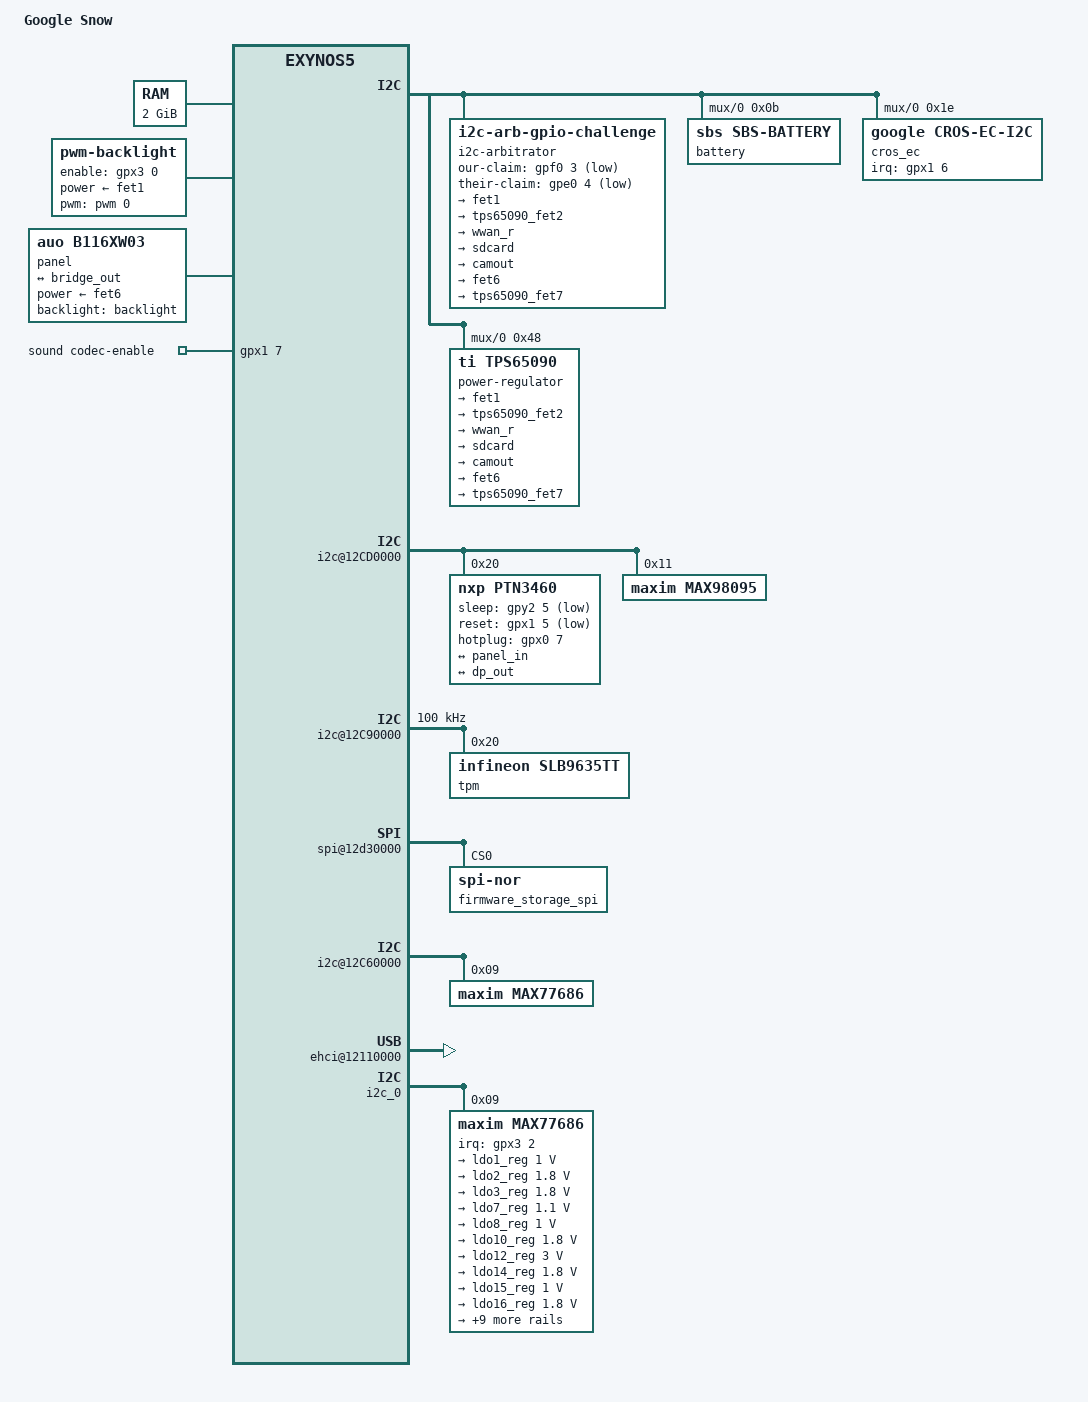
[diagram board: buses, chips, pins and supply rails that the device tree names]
/*
 * SAMSUNG Snow board device tree source
 *
 * Copyright (c) 2012 Samsung Electronics Co., Ltd.
 *		http://www.samsung.com
 *
 * This program is free software; you can redistribute it and/or modify
 * it under the terms of the GNU General Public License version 2 as
 * published by the Free Software Foundation.
 */

/dts-v1/;
#include <dt-bindings/gpio/gpio.h>
#include <dt-bindings/interrupt-controller/irq.h>
#include <dt-bindings/input/input.h>
#include "exynos5250.dtsi"

/ {
	model = "Google Snow";
	compatible = "google,snow", "samsung,exynos5250", "samsung,exynos5";

	aliases {
		i2c0 = "/i2c@12C60000";
		i2c1 = "/i2c@12C70000";
		i2c2 = "/i2c@12C80000";
		i2c3 = "/i2c@12C90000";
		i2c4 = "/i2c@12CA0000";
		i2c104 = &i2c_104;
		i2c5 = "/i2c@12CB0000";
		i2c6 = "/i2c@12CC0000";
		i2c7 = "/i2c@12CD0000";
		spi0 = "/spi@12d20000";
		spi1 = "/spi@12d30000";
		spi2 = "/spi@12d40000";
		spi3 = "/spi@131a0000";
		spi4 = "/spi@131b0000";
		mmc0 = "/mmc@12200000";
		mmc1 = "/mmc@12210000";
		mmc2 = "/mmc@12220000";
		mmc3 = "/mmc@12230000";
		serial0 = "/serial@12C30000";
		console = "/serial@12C30000";
	};

        memory {
		reg = <0x40000000 0x80000000>;
	};

	chosen {
		bootargs = "console=tty1";
		stdout-path = "serial3:115200n8";
	};

	iram {
		reg = <0x02020000 0x60000>;
	};

	config {
		samsung,bl1-offset = <0x1400>;
		samsung,bl2-offset = <0x3400>;
		u-boot-memory = "/memory";
		u-boot-offset = <0x3e00000 0x100000>;
	};

	flash {
		reg = <0 0x100000>;
		#address-cells = <1>;
		#size-cells = <1>;
		pre-boot {
			label = "bl1 pre-boot";
			reg = <0 0x2000>;
			read-only;
			filename = "e5250.nbl1.bin";
			type = "blob exynos-bl1";
			required;
		};

		spl {
			label = "bl2 spl";
			reg = <0x2000 0x4000>;
			read-only;
			filename = "bl2.bin";
			type = "blob exynos-bl2 boot,dtb";
			payload = "/flash/ro-boot";
			required;
		};

		ro-boot {
			label = "u-boot";
			reg = <0x6000 0xb0000>;
			read-only;
			type = "blob boot,dtb";
			required;
		};
	};

	i2c-arbitrator {
		compatible = "i2c-arb-gpio-challenge";
		#address-cells = <1>;
		#size-cells = <0>;

		i2c-parent = <&{/i2c@12CA0000}>;

		our-claim-gpio = <&gpf0 3 GPIO_ACTIVE_LOW>;
		their-claim-gpios = <&gpe0 4 GPIO_ACTIVE_LOW>;
		slew-delay-us = <10>;
		wait-retry-us = <3000>;
		wait-free-us = <50000>;

		/* Use ID 104 as a hint that we're on physical bus 4 */
		i2c_104: i2c@0 {
			reg = <0>;
			#address-cells = <1>;
			#size-cells = <0>;

			battery: sbs-battery@b {
				compatible = "sbs,sbs-battery";
				reg = <0xb>;
				sbs,poll-retry-count = <1>;
			};

			cros_ec: embedded-controller {
				compatible = "google,cros-ec-i2c";
				reg = <0x1e>;
				interrupts = <6 IRQ_TYPE_NONE>;
				interrupt-parent = <&gpx1>;
				wakeup-source;
				i2c-max-frequency = <100000>;
				u-boot,i2c-offset-len = <0>;
				ec-interrupt = <&gpx1 6 GPIO_ACTIVE_LOW>;
			};

			power-regulator {
				compatible = "ti,tps65090";
				reg = <0x48>;

				regulators {
					dcdc1 {
						ti,enable-ext-control;
					};
					dcdc2 {
						ti,enable-ext-control;
					};
					dcdc3 {
						ti,enable-ext-control;
					};
					fet1: fet1 {
						regulator-name = "vcd_led";
						ti,overcurrent-wait = <3>;
					};
					tps65090_fet2: fet2 {
						regulator-name = "video_mid";
						regulator-always-on;
						ti,overcurrent-wait = <3>;
					};
					fet3 {
						regulator-name = "wwan_r";
						regulator-always-on;
						ti,overcurrent-wait = <3>;
					};
					fet4 {
						regulator-name = "sdcard";
						ti,overcurrent-wait = <3>;
					};
					fet5 {
						regulator-name = "camout";
						regulator-always-on;
						ti,overcurrent-wait = <3>;
					};
					fet6: fet6 {
						regulator-name = "lcd_vdd";
						ti,overcurrent-wait = <3>;
					};
					tps65090_fet7: fet7 {
						regulator-name = "video_mid_1a";
						regulator-always-on;
						ti,overcurrent-wait = <3>;
					};
					ldo1 {
					};
					ldo2 {
					};
				};

				charger {
					compatible = "ti,tps65090-charger";
				};
			};
		};
	};

	i2c@12CD0000 {
		ptn3460: lvds-bridge@20 {
			compatible = "nxp,ptn3460";
			reg = <0x20>;
			sleep-gpios = <&gpy2 5 GPIO_ACTIVE_LOW>;
			reset-gpios = <&gpx1 5 GPIO_ACTIVE_LOW>;
			hotplug-gpios = <&gpx0 7 GPIO_ACTIVE_HIGH>;
			edid-emulation = <5>;

			ports {
				port@0 {
					bridge_out: endpoint {
						remote-endpoint = <&panel_in>;
					};
				};

				port@1 {
					bridge_in: endpoint {
						remote-endpoint = <&dp_out>;
					};
				};
			};
		};

		max98095: codec@11 {
			compatible = "maxim,max98095";
			reg = <0x11>;
			#sound-dai-cells = <1>;
		};
	};

	i2c@12C90000 {
		clock-frequency = <100000>;
		tpm@20 {
			reg = <0x20>;
			u-boot,i2c-offset-len = <0>;
			compatible = "infineon,slb9635tt";
		};
	};

	spi@12d30000 {
		spi-max-frequency = <50000000>;
		firmware_storage_spi: flash@0 {
			compatible = "jedec,spi-nor";
			reg = <0>;
		};
	};

	backlight: backlight {
		compatible = "pwm-backlight";
		pwms = <&pwm 0 1000000 0>;
		brightness-levels = <0 100 500 1000 1500 2000 2500 2800>;
		default-brightness-level = <7>;
		enable-gpios = <&gpx3 0 GPIO_ACTIVE_HIGH>;
		power-supply = <&fet1>;
	};

	panel: panel {
		compatible = "auo,b116xw03";
		power-supply = <&fet6>;
		backlight = <&backlight>;

		port {
			panel_in: endpoint {
				remote-endpoint = <&bridge_out>;
			};
		};
	};

	spi@131b0000 {
		spi-max-frequency = <1000000>;
		spi-deactivate-delay = <100>;

		/* Snow did support SPI but the released version used I2C */
		embedded-controller {
			compatible = "google,cros-ec-i2c";
			reg = <0x1e>;
			spi-max-frequency = <5000000>;
			ec-interrupt = <&gpx1 6 GPIO_ACTIVE_LOW>;
			optimise-flash-write;
			status = "disabled";
		};
	};

	sound {
		compatible = "google,snow-audio-max98095";

		samsung,model = "Snow-I2S-MAX98095";
		samsung,audio-codec = <&max98095>;
		codec-enable-gpio = <&gpx1 7 GPIO_ACTIVE_HIGH>;

		cpu {
			sound-dai = <&i2s0 0>;
		};

		codec {
			sound-dai = <&max98095 0>;
		};
	};

	sound@12d60000 {
		status = "disabled";
	};

	i2c@12C60000 {
		max77686@09 {
			reg = <0x9>;
			compatible = "maxim,max77686";
		};
	};

	mmc@12200000 {
		samsung,bus-width = <8>;
		samsung,timing = <1 3 3>;
		samsung,removable = <0>;
	};

	mmc@12210000 {
		status = "disabled";
	};

	mmc@12220000 {
		samsung,bus-width = <4>;
		samsung,timing = <1 2 3>;
		samsung,removable = <1>;
	};

	mmc@12230000 {
		status = "disabled";
	};

	ehci@12110000 {
		samsung,vbus-gpio = <&gpx1 1 GPIO_ACTIVE_HIGH>;
		status = "okay";
	};

	xhci@12000000 {
		samsung,vbus-gpio = <&gpx2 7 GPIO_ACTIVE_HIGH>;
	};

	tmu@10060000 {
		samsung,min-temp	= <25>;
		samsung,max-temp	= <125>;
		samsung,start-warning	= <95>;
		samsung,start-tripping	= <105>;
		samsung,hw-tripping	= <110>;
		samsung,efuse-min-value	= <40>;
		samsung,efuse-value	= <55>;
		samsung,efuse-max-value	= <100>;
		samsung,slope		= <274761730>;
		samsung,dc-value	= <25>;
	};

	fimd@14400000 {
		samsung,vl-freq = <60>;
		samsung,vl-col = <1366>;
		samsung,vl-row = <768>;
		samsung,vl-width = <1366>;
		samsung,vl-height = <768>;

		samsung,vl-clkp;
		samsung,vl-dp;
		samsung,vl-hsp;
		samsung,vl-vsp;

		samsung,vl-bpix = <4>;

		samsung,vl-hspw = <32>;
		samsung,vl-hbpd = <80>;
		samsung,vl-hfpd = <48>;
		samsung,vl-vspw = <5>;
		samsung,vl-vbpd = <14>;
		samsung,vl-vfpd = <3>;
		samsung,vl-cmd-allow-len = <0xf>;

		samsung,winid = <0>;
		samsung,interface-mode = <1>;
		samsung,dp-enabled = <1>;
		samsung,dual-lcd-enabled = <0>;
	};

	dp@145b0000 {
		samsung,lt-status = <0>;

		samsung,master-mode = <0>;
		samsung,bist-mode = <0>;
		samsung,bist-pattern = <0>;
		samsung,h-sync-polarity = <0>;
		samsung,v-sync-polarity = <0>;
		samsung,interlaced = <0>;
		samsung,color-space = <0>;
		samsung,dynamic-range = <0>;
		samsung,ycbcr-coeff = <0>;
		samsung,color-depth = <1>;
		samsung,hpd-gpio = <&gpx0 7 GPIO_ACTIVE_HIGH>;

		ports {
			port@0 {
				dp_out: endpoint {
					remote-endpoint = <&bridge_in>;
				};
			};
		};
	};

};

&i2c_0 {
	status = "okay";
	samsung,i2c-sda-delay = <100>;
	samsung,i2c-max-bus-freq = <378000>;

	max77686: max77686@09 {
		compatible = "maxim,max77686";
		interrupt-parent = <&gpx3>;
		interrupts = <2 IRQ_TYPE_NONE>;
		wakeup-source;
		reg = <0x09>;
		#clock-cells = <1>;

		voltage-regulators {
			ldo1_reg: LDO1 {
				regulator-name = "P1.0V_LDO_OUT1";
				regulator-min-microvolt = <1000000>;
				regulator-max-microvolt = <1000000>;
				regulator-always-on;
			};

			ldo2_reg: LDO2 {
				regulator-name = "P1.8V_LDO_OUT2";
				regulator-min-microvolt = <1800000>;
				regulator-max-microvolt = <1800000>;
				regulator-always-on;
			};

			ldo3_reg: LDO3 {
				regulator-name = "P1.8V_LDO_OUT3";
				regulator-min-microvolt = <1800000>;
				regulator-max-microvolt = <1800000>;
				regulator-always-on;
			};

			ldo7_reg: LDO7 {
				regulator-name = "P1.1V_LDO_OUT7";
				regulator-min-microvolt = <1100000>;
				regulator-max-microvolt = <1100000>;
				regulator-always-on;
			};

			ldo8_reg: LDO8 {
				regulator-name = "P1.0V_LDO_OUT8";
				regulator-min-microvolt = <1000000>;
				regulator-max-microvolt = <1000000>;
				regulator-always-on;
			};

			ldo10_reg: LDO10 {
				regulator-name = "P1.8V_LDO_OUT10";
				regulator-min-microvolt = <1800000>;
				regulator-max-microvolt = <1800000>;
				regulator-always-on;
			};

			ldo12_reg: LDO12 {
				regulator-name = "P3.0V_LDO_OUT12";
				regulator-min-microvolt = <3000000>;
				regulator-max-microvolt = <3000000>;
				regulator-always-on;
			};

			ldo14_reg: LDO14 {
				regulator-name = "P1.8V_LDO_OUT14";
				regulator-min-microvolt = <1800000>;
				regulator-max-microvolt = <1800000>;
				regulator-always-on;
			};

			ldo15_reg: LDO15 {
				regulator-name = "P1.0V_LDO_OUT15";
				regulator-min-microvolt = <1000000>;
				regulator-max-microvolt = <1000000>;
				regulator-always-on;
			};

			ldo16_reg: LDO16 {
				regulator-name = "P1.8V_LDO_OUT16";
				regulator-min-microvolt = <1800000>;
				regulator-max-microvolt = <1800000>;
				regulator-always-on;
			};

			ldo17_reg: LDO17 {
				regulator-name = "vdd_mydp";
				regulator-min-microvolt = <1200000>;
				regulator-max-microvolt = <1200000>;
			};

			buck1_reg: BUCK1 {
				regulator-name = "vdd_mif";
				regulator-min-microvolt = <950000>;
				regulator-max-microvolt = <1300000>;
				regulator-always-on;
				regulator-boot-on;
			};

			buck2_reg: BUCK2 {
				regulator-name = "vdd_arm";
				regulator-min-microvolt = <850000>;
				regulator-max-microvolt = <1350000>;
				regulator-always-on;
				regulator-boot-on;
			};

			buck3_reg: BUCK3 {
				regulator-name = "vdd_int";
				regulator-min-microvolt = <900000>;
				regulator-max-microvolt = <1200000>;
				regulator-always-on;
				regulator-boot-on;
			};

			buck4_reg: BUCK4 {
				regulator-name = "vdd_g3d";
				regulator-min-microvolt = <850000>;
				regulator-max-microvolt = <1300000>;
				regulator-always-on;
				regulator-boot-on;
			};

			buck5_reg: BUCK5 {
				regulator-name = "P1.8V_BUCK_OUT5";
				regulator-min-microvolt = <1800000>;
				regulator-max-microvolt = <1800000>;
				regulator-always-on;
				regulator-boot-on;
			};

			buck6_reg: BUCK6 {
				regulator-name = "P1.35V_BUCK_OUT6";
				regulator-min-microvolt = <1350000>;
				regulator-max-microvolt = <1350000>;
				regulator-always-on;
			};

			buck7_reg: BUCK7 {
				regulator-name = "P2.0V_BUCK_OUT7";
				regulator-min-microvolt = <2000000>;
				regulator-max-microvolt = <2000000>;
				regulator-always-on;
			};

			buck8_reg: BUCK8 {
				regulator-name = "P2.85V_BUCK_OUT8";
				regulator-min-microvolt = <2850000>;
				regulator-max-microvolt = <2850000>;
				regulator-always-on;
			};
		};
	};
};

#include "cros-ec-keyboard.dtsi"
